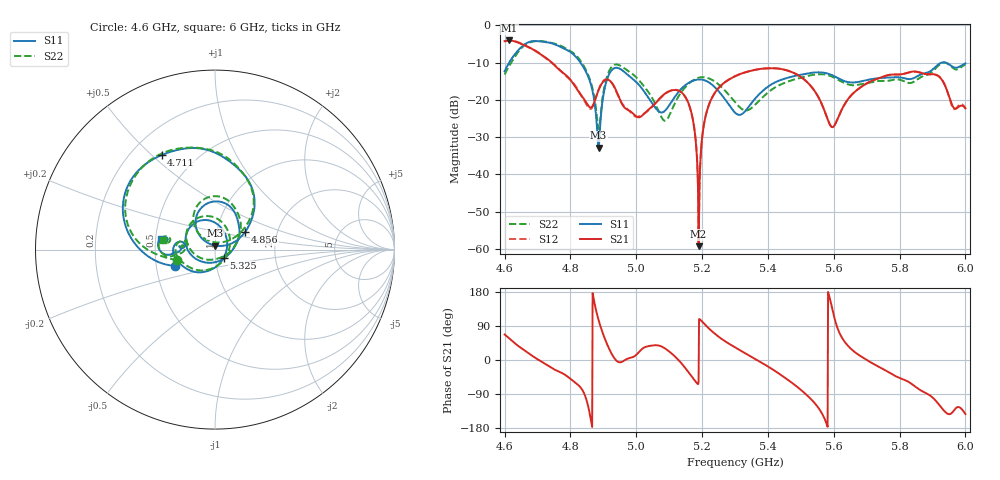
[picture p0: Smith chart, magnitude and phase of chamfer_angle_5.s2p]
! TOUCHSTONE file generated by CST MICROWAVE STUDIO
! Date and time: Sat Nov 30 03:29:16 2024
! Project name: test_tuning.cst
! Parameters = {airCoaxOuterDiameter=3; chamferAngle=43; chamferWidth=24; connectorLength=10; drillingHoleDiameter=4.1; feedLength=60; flareDiameter=130; flareLength=70; gratingDistance=0; gratingGap=1.90274; outletLength=30; polarizerLength=134; probe1Diameter=1.3; probe1Distance=14; probe1Length=1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
! Header version: 2024
! Port assignment regex: !\s*Touchstone port\s*([0-9]+)\s*=\s*(CST MWS port|CST DES external port|CST DES block port)\s*(.+)\s* \(\"(.*)\"\)(\s*mode\s*([0-9]+))?.*
! Touchstone port assignment:
! Touchstone port 1 = CST MWS port 1 ("Input1")
! Touchstone port 2 = CST MWS port 2 ("Input2")
# GHz S MA R 50
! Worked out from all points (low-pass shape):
!   1001 points, 4.6 GHz to 6 GHz, reference 50 ohm
!   highest |S21| = -4.08 dB at 4.614 GHz (marker M1); lowest = -59.3 dB at 5.189 GHz (marker M2)
!   |S21| within 3 dB of the highest: start of sweep to 4.697 GHz
!   lowest |S11| = -32.9 dB at 4.886 GHz (marker M3), VSWR 1.05, Z = 50.2 + j2.27 ohm
!   |S11| at or under -10 dB: start of sweep to 4.61404 GHz; 4.83 GHz to 5.928 GHz (1.098 GHz wide, 20.4 % of centre); 5.94 GHz to end of sweep
!   |S22| runs from -27.8 to -4.2 dB; largest |S21 - S12| = 0.0086
!   S11 on the Smith chart (normalised r, x): 4.6 GHz: 0.62, -0.12; 4.711 GHz: 0.32, +0.54; 4.856 GHz: 1.37, +0.28; 5.325 GHz: 1.10, -0.10; 6 GHz: 0.53, +0.07
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4.6  0.242 -158.0  0.6112 67.4  0.6087 66.6  0.2184 -164.6
4.614  0.316 -166.8  0.6251 57.1  0.6169 57.2  0.2845 -171.5
4.7106  0.6047 119.4  0.4039 -3.4  0.4068 -4.2  0.6135 120.4
4.8338  0.3 44.1  0.1135 -75.9  0.1118 -78.1  0.3185 47.8
4.8562  0.1932 30.2  0.08121 -131.2  0.07753 -129.6  0.2029 36.2
4.8856  0.0227 84.3  0.1355 105.1  0.1366 106.6  0.04056 81.5
4.908  0.1687 129.3  0.1857 48.6  0.1889 48.2  0.1844 129.3
4.9346  0.2667 93.7  0.1459 3.4  0.1431 2.9  0.2954 95.7
5.0046  0.1649 34.5  0.05838 17.6  0.05918 19.8  0.1906 40.9
5.0676  0.07023 -44.1  0.09932 38.3  0.1009 38.0  0.07079 -21.6
5.0914  0.07453 -102.2  0.1247 28.1  0.1232 28.0  0.05327 -87.1
5.153  0.1619 172.5  0.102 -25.7  0.101 -25.8  0.154 169.4
5.174  0.181 152.0  0.04821 -50.0  0.04857 -49.0  0.1844 149.6
5.1894  0.187 137.1  0.001086 -56.6  0.001858 -69.5  0.198 134.7
5.2202  0.1718 106.4  0.08412 83.5  0.08476 83.4  0.1939 105.3
5.3  0.06729 7.5  0.2071 33.5  0.2069 33.4  0.09319 25.4
5.3252  0.06639 -43.8  0.2293 20.7  0.2293 20.8  0.07329 -14.8
5.5338  0.2306 -172.0  0.1465 -105.8  0.1469 -105.9  0.2148 -171.1
5.5968  0.2122 168.8  0.04291 130.4  0.04335 130.7  0.2021 167.3
5.7676  0.1988 175.5  0.2151 -32.7  0.2153 -32.7  0.1803 175.4
5.9118  0.283 -174.9  0.2158 -109.3  0.2149 -108.8  0.2695 -172.4
6  0.3076 169.0  0.07669 -142.6  0.07638 -146.1  0.2971 169.3
